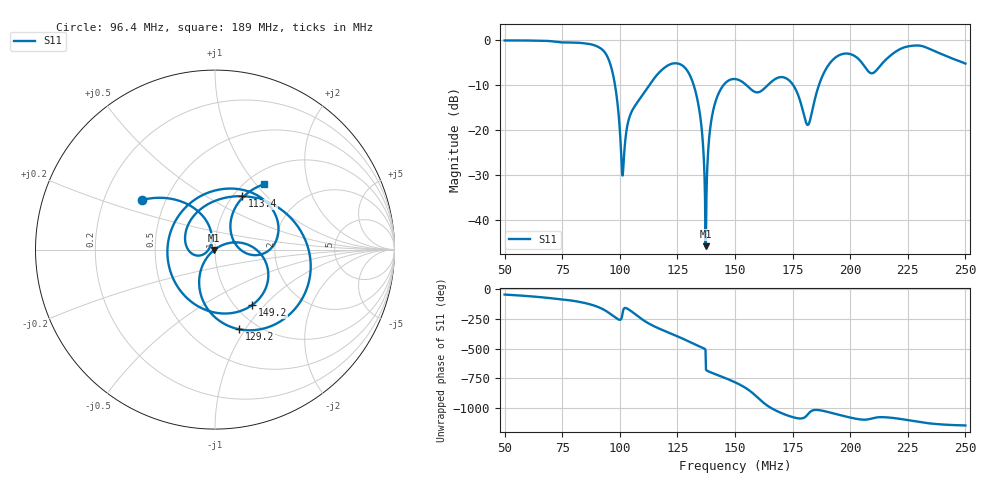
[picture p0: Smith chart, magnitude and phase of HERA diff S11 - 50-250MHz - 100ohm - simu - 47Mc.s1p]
! TOUCHSTONE file generated by CST MICROWAVE STUDIO
! Date and time: Thu Dec 15 13:15:01 2016
! Project name: HERA CST model - v1-LIGHT-6-2.cst
! Header version: 2015
! Port assignment regex: !\s*Touchstone port\s*([0-9]+)\s*=\s*CST MWS port\s*([0-9]+)\s*\(\"(.*)\"\)(\s*mode\s*([0-9]+))?.*
! Touchstone port assignment:
! Touchstone port 1 = CST MWS port 1 ("")
# MHZ S MA R 100
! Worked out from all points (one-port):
!   1001 points, 50 MHz to 250 MHz, reference 100 ohm
!   lowest |S11| = -45.8 dB at 137.2 MHz (marker M1), VSWR 1.01, Z = 99.1 - j0.463 ohm
!   |S11| at or under -10 dB: 97.94 MHz to 112.7 MHz (14.79 MHz wide, 14 % of centre); 132.1 MHz to 144.9 MHz (12.81 MHz wide, 9.25 % of centre); 175.3 MHz to 186.4 MHz (11.04 MHz wide, 6.11 % of centre)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
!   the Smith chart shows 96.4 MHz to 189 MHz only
!   S11 on the Smith chart (normalised r, x): 96.4 MHz: 0.37, +0.27; 113.4 MHz: 1.10, +0.74; 129.2 MHz: 0.83, -0.94; 149.2 MHz: 1.19, -0.85; 189 MHz: 1.20, +1.11
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50  0.998 -44.8
75  0.9501 -85.3
86.8  0.9119 -125.5
92.6  0.7811 -167.4
96.4  0.4902 145.6
100  0.102 102.6
101.4  0.03464 176.8
104.6  0.1501 180.0
113.4  0.3346 62.8
120  0.5105 4.4
125  0.5546 -36.4
129.2  0.4642 -73.0
134.4  0.1749 -119.6
137.2  0.005156 -153.0
141  0.1868 8.3
149.2  0.372 -56.0
150  0.3719 -63.1
159.4  0.2645 176.1
166  0.3496 76.7
175  0.3256 3.8
181.6  0.1147 26.7
189  0.4564 53.1
200  0.7048 -0.1
209.2  0.431 -8.7
216.2  0.6357 1.0
225  0.8568 -21.4
233.6  0.8223 -47.3
250  0.5522 -66.6
